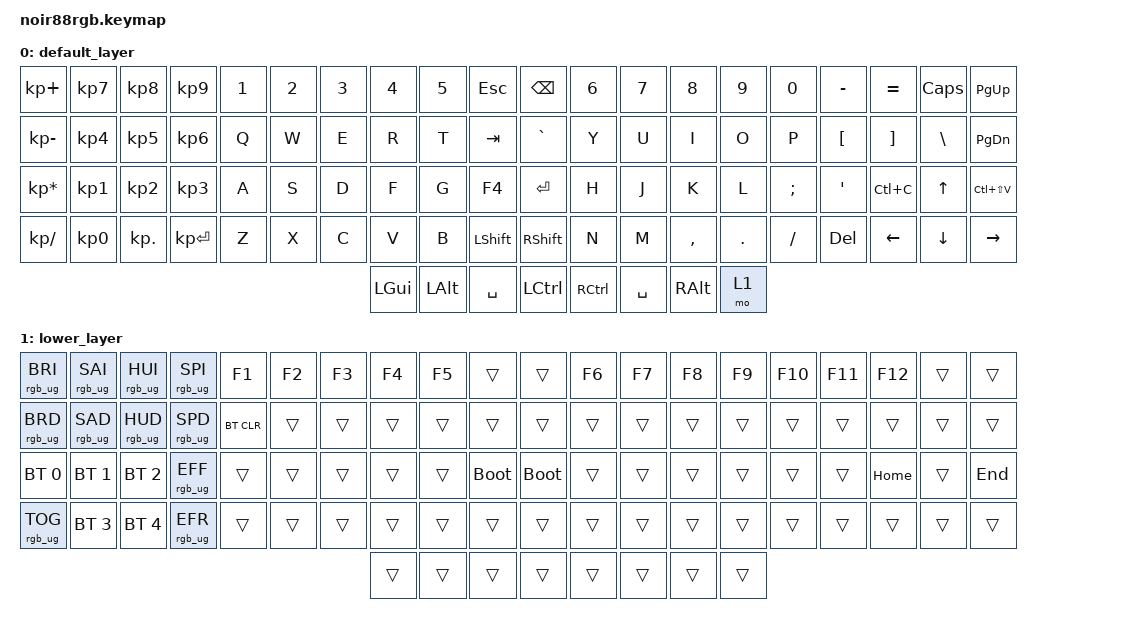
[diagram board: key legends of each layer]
/*
 * Copyright (c) 2020 The ZMK Contributors
 *
 * SPDX-License-Identifier: MIT
 */

#include <behaviors.dtsi>
#include <dt-bindings/zmk/bt.h>
#include <dt-bindings/zmk/keys.h>
#include <dt-bindings/zmk/rgb.h>

#define BASE 0
#define LOWER 1

/ {
    keymap {
        compatible = "zmk,keymap";

        default_layer {


            bindings = <
&kp KP_PLUS      &kp KP_N7  &kp KP_N8   &kp KP_N9     &kp N1  &kp N2    &kp N3        &kp N4     &kp N5            &kp ESC         &kp BSPC         &kp N6             &kp N7     &kp N8         &kp N9   &kp N0    &kp MINUS  &kp EQUAL  &kp CAPS  &kp PG_UP
&kp KP_MINUS     &kp KP_N4  &kp KP_N5   &kp KP_N6     &kp Q   &kp W     &kp E         &kp R      &kp T             &kp TAB         &kp GRAVE        &kp Y              &kp U      &kp I          &kp O    &kp P     &kp LBKT   &kp RBKT   &kp BSLH  &kp PG_DN
&kp KP_ASTERISK  &kp KP_N1  &kp KP_N2   &kp KP_N3     &kp A   &kp S     &kp D         &kp F      &kp G             &kp F4          &kp ENTER        &kp H              &kp J      &kp K          &kp L    &kp SEMI  &kp SQT    &kp LC(C)  &kp UP    &kp LC(LS(V))
&kp KP_DIVIDE    &kp KP_N0  &kp KP_DOT  &kp KP_ENTER  &kp Z   &kp X     &kp C         &kp V      &kp B             &kp LEFT_SHIFT  &kp RIGHT_SHIFT  &kp N              &kp M      &kp COMMA      &kp DOT  &kp FSLH  &kp DEL    &kp LEFT   &kp DOWN  &kp RIGHT
                                                                                &kp LGUI  &kp LEFT_ALT  &kp SPACE  &kp LEFT_CONTROL  &kp RIGHT_CONTROL  &kp SPACE  &kp RIGHT_ALT  &mo 1
            >;


        };

        lower_layer {

            bindings = <
&rgb_ug RGB_BRI  &rgb_ug RGB_SAI  &rgb_ug RGB_HUI  &rgb_ug RGB_SPI  &kp F1      &kp F2  &kp F3  &kp F4  &kp F5  &trans        &trans         &kp F6  &kp F7  &kp F8  &kp F9  &kp F10  &kp F11  &kp F12   &trans  &trans
&rgb_ug RGB_BRD  &rgb_ug RGB_SAD  &rgb_ug RGB_HUD  &rgb_ug RGB_SPD  &bt BT_CLR  &trans  &trans  &trans  &trans  &trans        &trans         &trans  &trans  &trans  &trans  &trans   &trans   &trans    &trans  &trans
&bt BT_SEL 0     &bt BT_SEL 1     &bt BT_SEL 2     &rgb_ug RGB_EFF  &trans      &trans  &trans  &trans  &trans  &bootloader   &bootloader    &trans  &trans  &trans  &trans  &trans   &trans   &kp HOME  &trans  &kp END
&rgb_ug RGB_TOG  &bt BT_SEL 3     &bt BT_SEL 4     &rgb_ug RGB_EFR  &trans      &trans  &trans  &trans  &trans  &trans        &trans         &trans  &trans  &trans  &trans  &trans   &trans   &trans    &trans  &trans
                                                                               &trans  &trans  &trans  &trans        &trans         &trans  &trans  &trans

            >;


        };
    };
};
